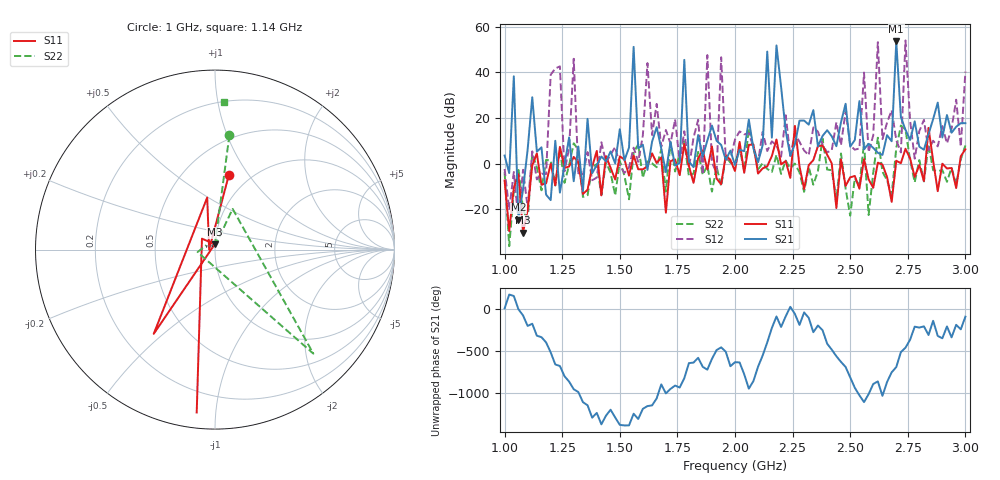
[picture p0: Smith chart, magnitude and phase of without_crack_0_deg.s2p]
# MHz S MA R 50
!  freq  S11  S21  S12  S22
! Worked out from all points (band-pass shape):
!   101 points, 1 GHz to 3 GHz, reference 50 ohm
!   highest |S21| = 53.61 dB at 2.7 GHz (marker M1); lowest = -24.6 dB at 1.06 GHz (marker M2)
!   |S21| within 3 dB of the highest: 1.559715 GHz to 1.560283 GHz (568.2 kHz wide, 0.0364 % of centre); 2.179378 GHz to 2.181387 GHz (2.01 MHz wide, 0.0922 % of centre) (the widest 2 of 3)
!   lowest |S11| = -30.3 dB at 1.08 GHz (marker M3), VSWR 1.06, Z = 49.8 + j3.04 ohm
!   |S11| at or under -10 dB: 1.002 GHz to 1.042 GHz (39.93 MHz wide, 3.91 % of centre); 1.064 GHz to 1.111 GHz (46.53 MHz wide, 4.28 % of centre); 1.335 GHz to 1.363 GHz (27.92 MHz wide, 2.07 % of centre) (the widest 3 of 12)
!   |S22| runs from -36.3 to 16.7 dB; largest |S21 - S12| = 5e+02
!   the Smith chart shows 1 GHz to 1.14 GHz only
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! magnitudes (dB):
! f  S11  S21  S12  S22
! 1 GHz  -7.5  3.5  -2.4  -3.8
! 1.04 GHz  -10.7  38.3  -3.7  -12.1
! 1.06 GHz  -4.7  -24.6  -25.0  -2.0
! 1.08 GHz  -30.3  -11.4  -2.8  -20.2
! 1.12 GHz  -0.8  29.1  5.3  4.6
! 1.24 GHz  7.3  -12.8  42.7  6.4
! 1.26 GHz  -2.0  -0.6  -3.4  -8.5
! 1.3 GHz  2.9  -7.8  46.0  8.9
! 1.34 GHz  -13.4  -12.2  -4.8  -14.7
! 1.56 GHz  3.6  51.2  7.0  4.8
! 1.68 GHz  2.6  6.5  7.3  6.2
! 1.78 GHz  8.6  45.5  14.2  9.8
! 1.8 GHz  -1.1  0.9  -1.9  -5.7
! 1.86 GHz  5.8  3.0  -4.7  -5.0
! 1.88 GHz  -2.6  10.1  47.6  -0.8
! 1.9 GHz  7.5  16.7  0.5  -12.4
! 1.94 GHz  -9.1  8.2  46.7  -10.0
! 2 GHz  -3.3  -0.7  10.6  -0.1
! 2.34 GHz  1.5  23.5  15.8  -9.3
! 2.68 GHz  -16.9  9.8  23.4  -13.7
! 2.7 GHz  1.2  53.6  10.3  6.8
! 3 GHz  6.3  17.7  40.4  8.0
